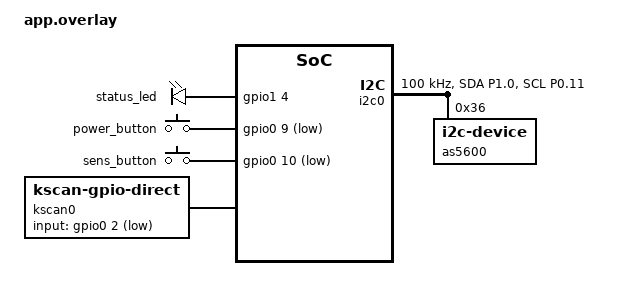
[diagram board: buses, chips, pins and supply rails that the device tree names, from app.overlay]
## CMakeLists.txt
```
target_sources(app PRIVATE ${CMAKE_CURRENT_SOURCE_DIR}/src/scroll_wheel.c)
target_sources(app PRIVATE ${CMAKE_CURRENT_SOURCE_DIR}/src/as5600_input_dev.c)
```

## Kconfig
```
# High-res scroll module
```

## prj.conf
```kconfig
# General
CONFIG_GPIO=y
CONFIG_I2C=y
CONFIG_SERIAL=y
CONFIG_CONSOLE=y
CONFIG_UART_CONSOLE=y

# Flash / Settings
CONFIG_FLASH=y
CONFIG_FLASH_MAP=y
CONFIG_NVS=y

# LED
CONFIG_LED_STRIP=y
CONFIG_WS2812_STRIP_GPIO=y

# Sleep
CONFIG_ZMK_SLEEP=y
CONFIG_ZMK_PM_SOFT_OFF=y

# BLE
CONFIG_ZMK_BLE=y
CONFIG_ZMK_KEYBOARD_NAME="HiResScroll"
CONFIG_BT_MAX_PAIRED=5

# Pointing
CONFIG_ZMK_POINTING=y
CONFIG_ZMK_POINTING_SMOOTH_SCROLLING=y
CONFIG_INPUT=y

# Settings
CONFIG_ZMK_SETTINGS_SAVE_DEBOUNCE=1000

# UF2
CONFIG_BUILD_OUTPUT_UF2=y
CONFIG_FLASH_LOAD_OFFSET=0x26000
```

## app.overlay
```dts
&pinctrl {
    i2c0_default: i2c0_default {
        group1 {
            psels = <NRF_PSEL(TWIM_SDA, 1, 0)>,
                    <NRF_PSEL(TWIM_SCL, 0, 11)>;
            bias-pull-up;
        };
    };
    i2c0_sleep: i2c0_sleep {
        group1 {
            psels = <NRF_PSEL(TWIM_SDA, 1, 0)>,
                    <NRF_PSEL(TWIM_SCL, 0, 11)>;
            low-power-enable;
        };
    };
};

&i2c0 {
    compatible = "nordic,nrf-twim";
    status = "okay";
    pinctrl-0 = <&i2c0_default>;
    pinctrl-1 = <&i2c0_sleep>;
    pinctrl-names = "default", "sleep";
    clock-frequency = <I2C_BITRATE_STANDARD>;
    as5600: as5600@36 {
        compatible = "i2c-device";
        reg = <0x36>;
    };
};

/ {
    leds {
        compatible = "gpio-leds";
        status_led: led_1 {
            gpios = <&gpio1 4 GPIO_ACTIVE_HIGH>;
        };
    };

    buttons {
        compatible = "gpio-keys";
        power_button: button_0 {
            gpios = <&gpio0 9 (GPIO_PULL_UP | GPIO_ACTIVE_LOW)>;
        };
        sens_button: button_1 {
            gpios = <&gpio0 10 (GPIO_PULL_UP | GPIO_ACTIVE_LOW)>;
        };
    };

    chosen {
        zmk,kscan = &kscan0;
    };

    kscan0: kscan {
        compatible = "zmk,kscan-gpio-direct";
        wakeup-source;
        input-gpios = <&gpio0 2 (GPIO_PULL_UP | GPIO_ACTIVE_LOW)>;
    };

    scroll_input: scroll_input {
        compatible = "zmk,as5600-input";
        status = "okay";
    };

    scroll_listener: scroll_listener {
        compatible = "zmk,input-listener";
        device = <&scroll_input>;
    };
};
```

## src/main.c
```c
#include <zephyr/kernel.h>
#include <zephyr/drivers/i2c.h>
#include <zephyr/sys/printk.h>

static const struct i2c_dt_spec as5600 = I2C_DT_SPEC_GET(DT_ALIAS(sensor));

int main(void) {
    int32_t last_angle = -1;
    
    printk("AS5600 Serial Debug Start\n");
    printk("--------------------------\n");

    if (!device_is_ready(as5600.bus)) {
        printk("Error: I2C bus not ready!\n");
        return 0;
    }

    while (1) {
        uint8_t buffer[2];
        // Register 0x0C is the start of the RAW ANGLE (high byte)
        if (i2c_write_read_dt(&as5600, (uint8_t[]){0x0C}, 1, buffer, 2) == 0) {
            uint16_t angle = (((uint16_t)buffer[0] << 8) | buffer[1]) & 0x0FFF;

            if (last_angle != -1) {
                int32_t delta = (int32_t)angle - last_angle;

                // Handle zero-crossing for 12-bit sensor (4096 steps)
                if (delta > 2048)  delta -= 4096;
                if (delta < -2048) delta += 4096;

                if (delta != 0) {
                    printk("Angle: %4d | Delta: %4d\n", angle, delta);
                }
            } else {
                printk("First read: %d\n", angle);
            }
            last_angle = angle;
        } else {
            printk("I2C Read Failed!\n");
        }

        k_msleep(100); // Slowed down for readability
    }
}
```

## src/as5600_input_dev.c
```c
#include <zephyr/device.h>
#include <zephyr/init.h>

/* Minimal stub driver to register the scroll_input DT node as a real device,
 * so DEVICE_DT_GET and INPUT_CALLBACK_DEFINE can reference it. */
#define DT_DRV_COMPAT zmk_as5600_input

static int as5600_input_init(const struct device *dev)
{
    return 0;
}

#define AS5600_INPUT_DEFINE(n) \
    DEVICE_DT_INST_DEFINE(n, as5600_input_init, NULL, NULL, NULL, \
                          POST_KERNEL, CONFIG_KERNEL_INIT_PRIORITY_DEVICE, NULL);

DT_INST_FOREACH_STATUS_OKAY(AS5600_INPUT_DEFINE)
```

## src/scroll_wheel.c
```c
#include <zephyr/kernel.h>
#include <zephyr/drivers/gpio.h>
#include <zephyr/drivers/i2c.h>
#include <zephyr/sys/printk.h>
#include <zephyr/device.h>
#include <zephyr/input/input.h>
#include <zephyr/dt-bindings/input/input-event-codes.h>
#include <zephyr/sys/atomic.h>
#include <zephyr/drivers/led_strip.h>
#include <zmk/ble.h>
#include <zmk/pm.h>
#include <zephyr/settings/settings.h>

#define AS5600_RAW_ANGLE_REG  0x0C
#define AS5600_MAX_ANGLE      4096
#define AS5600_HALF_MAX       2048
#define SAMPLE_INTERVAL_MS    4
#define LONG_PRESS_MS         1500
#define LONGEST_PRESS_MS      3000

static const struct i2c_dt_spec as5600     = I2C_DT_SPEC_GET(DT_NODELABEL(as5600));
static const struct gpio_dt_spec btn_power = GPIO_DT_SPEC_GET(DT_NODELABEL(power_button), gpios);
static const struct gpio_dt_spec btn_sens  = GPIO_DT_SPEC_GET(DT_NODELABEL(sens_button), gpios);
static const struct device *led_strip      = DEVICE_DT_GET(DT_NODELABEL(ws2812));
static const struct device *scroll_dev     = DEVICE_DT_GET(DT_NODELABEL(scroll_input));

static struct led_rgb pixels[1];

static int sens_levels[] = {16, 8};
static int sens_idx = 0;
static atomic_t current_ticks_per_scroll = ATOMIC_INIT(16);

static int read_angle(uint16_t *out)
{
    uint8_t reg = AS5600_RAW_ANGLE_REG;
    uint8_t buf[2];
    int ret = i2c_write_read_dt(&as5600, &reg, 1, buf, 2);
    if (ret == 0) {
        *out = ((uint16_t)buf[0] << 8) | buf[1];
    }
    return ret;
}

static int16_t compute_delta(uint16_t prev, uint16_t curr)
{
    int16_t delta = (int16_t)curr - (int16_t)prev;
    if (delta >  AS5600_HALF_MAX) delta -= AS5600_MAX_ANGLE;
    if (delta < -AS5600_HALF_MAX) delta += AS5600_MAX_ANGLE;
    return delta;
}

static void led_set_color(uint8_t r, uint8_t g, uint8_t b)
{
    pixels[0].r = r;
    pixels[0].g = g;
    pixels[0].b = b;
    led_strip_update_rgb(led_strip, pixels, 1);
}

static void led_blink(int times, int on_ms, int off_ms, uint8_t r, uint8_t g, uint8_t b)
{
    for (int i = 0; i < times; i++) {
        led_set_color(r, g, b);
        k_msleep(on_ms);
        led_set_color(0, 0, 0);
        k_msleep(off_ms);
    }
}

static void clear_bonds_work_fn(struct k_work *work)
{
    zmk_ble_clear_all_bonds();
}

static K_WORK_DEFINE(clear_bonds_work, clear_bonds_work_fn);

/* Scroll handling */
static void scroll_thread_fn(void *a, void *b, void *c)
{
    if (!device_is_ready(as5600.bus)) {
        printk("AS5600 bus not ready\n");
        return;
    }

    /* Check magnet status */
    uint8_t status_reg = 0x0B;
    uint8_t status;
    i2c_write_read_dt(&as5600, &status_reg, 1, &status, 1);
    printk("Magnet: detected=%d too_weak=%d too_strong=%d\n",
           !!(status & BIT(5)),
           !!(status & BIT(4)),
           !!(status & BIT(3)));

    /* Enable watchdog (WD bit) + 1 LSB hysteresis */
    uint8_t conf_reg = 0x07;
    uint8_t conf_buf[2];
    i2c_write_read_dt(&as5600, &conf_reg, 1, conf_buf, 2);
    conf_buf[0] |= 0x20;
    conf_buf[1] |= (1 << 2);
    uint8_t conf_write[] = {0x07, conf_buf[0], conf_buf[1]};
    i2c_write_dt(&as5600, conf_write, sizeof(conf_write));

    uint16_t prev_angle = 0;
    int32_t  accumulator = 0;
    read_angle(&prev_angle);

    while (1) {
        k_msleep(SAMPLE_INTERVAL_MS);

        uint16_t curr_angle;
        if (read_angle(&curr_angle) != 0) {
            continue;
        }

        int16_t delta = compute_delta(prev_angle, curr_angle);
        prev_angle = curr_angle;

        if (delta == 0) continue;

        accumulator += delta;
        int32_t ticks = atomic_get(&current_ticks_per_scroll);
        int32_t scroll_ticks = accumulator / ticks;

        if (scroll_ticks != 0) {
            accumulator -= scroll_ticks * ticks;
            input_report_rel(scroll_dev, INPUT_REL_WHEEL, (int16_t)scroll_ticks, true, K_NO_WAIT);
        }
    }
}

K_THREAD_DEFINE(scroll_tid, 1024, scroll_thread_fn, NULL, NULL, NULL, K_PRIO_PREEMPT(10), 0, 0);

/* Power and BT button */
static void power_button_thread_fn(void *a, void *b, void *c)
{
    if (!device_is_ready(led_strip)) {
        printk("LED strip not ready\n");
        return;
    }
    if (!gpio_is_ready_dt(&btn_power)) {
        printk("Power button not ready\n");
        return;
    }

    gpio_pin_configure_dt(&btn_power, GPIO_INPUT);
    led_set_color(0, 0, 0);

    bool last_state = false;
    int64_t press_time = 0;
    bool longest_triggered = false;

    while (1) {
        bool current_state = gpio_pin_get_dt(&btn_power) > 0;

        if (current_state && !last_state) {
            press_time = k_uptime_get();
            longest_triggered = false;
        } else if (current_state && last_state && !longest_triggered) {
            if (k_uptime_get() - press_time >= LONGEST_PRESS_MS) {
                longest_triggered = true;
                printk("Clearing bonds\n");
                led_blink(3, 100, 100, 50, 25, 0);
                k_work_submit(&clear_bonds_work);
            }
        } else if (!current_state && last_state && !longest_triggered) {
            int64_t held_ms = k_uptime_get() - press_time;

            if (held_ms >= LONG_PRESS_MS) {
                printk("Entering soft off\n");
                led_blink(2, 100, 100, 50, 0, 0);
                settings_save();  /* force flush all settings to flash */
                k_msleep(1000);    /* wait for flash write to complete */
                zmk_pm_soft_off();
            } else {
                printk("BT reset\n");
                led_blink(1, 100, 100, 0, 0, 50);
                zmk_ble_prof_disconnect(0);
            }
        }

        last_state = current_state;
        k_msleep(50);
    }
}

K_THREAD_DEFINE(led_btn_power_tid, 1024, power_button_thread_fn, NULL, NULL, NULL, K_PRIO_PREEMPT(7), 0, 0);

/* Sensitivity button toggle */
static void sens_button_thread_fn(void *a, void *b, void *c)
{
    if (!gpio_is_ready_dt(&btn_sens)) {
        printk("Sensitivity button not ready\n");
        return;
    }

    gpio_pin_configure_dt(&btn_sens, GPIO_INPUT);

    bool last_btn_state = false;

    while (1) {
        bool current_btn_state = gpio_pin_get_dt(&btn_sens) > 0;

        if (current_btn_state && !last_btn_state) {
            sens_idx = (sens_idx + 1) % ARRAY_SIZE(sens_levels);
            atomic_set(&current_ticks_per_scroll, sens_levels[sens_idx]);
            printk("Sensitivity: %d\n", sens_levels[sens_idx]);
        }

        last_btn_state = current_btn_state;
        k_msleep(50);
    }
}

K_THREAD_DEFINE(sens_btn_tid, 512, sens_button_thread_fn, NULL, NULL, NULL, K_PRIO_PREEMPT(8), 0, 0);
```
